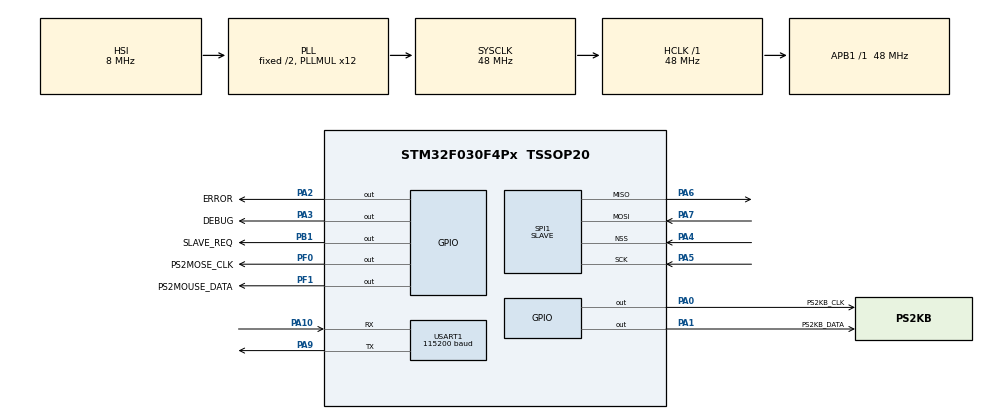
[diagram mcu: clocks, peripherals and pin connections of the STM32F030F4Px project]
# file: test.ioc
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Mcu.Family=STM32F0
Mcu.Name=STM32F030F4Px
Mcu.Package=TSSOP20
NVIC.SPI1_IRQn=true\:0\:0\:false\:false\:true\:true
NVIC.TIM14_IRQn=true\:1\:0\:true\:false\:true\:true
PA0.GPIO_Label=PS2KB_CLK
PA0.GPIO_ModeDefaultOutputPP=GPIO_MODE_OUTPUT_OD
PA0.PinState=GPIO_PIN_SET
PA0.Signal=GPIO_Output
PA1.GPIO_Label=PS2KB_DATA
PA1.GPIO_ModeDefaultOutputPP=GPIO_MODE_OUTPUT_OD
PA1.PinState=GPIO_PIN_SET
PA1.Signal=GPIO_Output
PA10.Mode=Asynchronous
PA10.Signal=USART1_RX
PA13.Mode=Serial_Wire
PA13.Signal=SYS_SWDIO
PA14.Mode=Serial_Wire
PA14.Signal=SYS_SWCLK
PA2.GPIO_Label=ERROR
PA2.Signal=GPIO_Output
PA3.GPIO_Label=DEBUG
PA3.Signal=GPIO_Output
PA4.Mode=NSS_Signal_Hard_Input
PA4.Signal=SPI1_NSS
PA5.Mode=Full_Duplex_Slave
PA5.Signal=SPI1_SCK
PA6.Mode=Full_Duplex_Slave
PA6.Signal=SPI1_MISO
PA7.Mode=Full_Duplex_Slave
PA7.Signal=SPI1_MOSI
PA9.Mode=Asynchronous
PA9.Signal=USART1_TX
PB1.GPIO_Label=SLAVE_REQ
PB1.Signal=GPIO_Output
PF0-OSC_IN.GPIO_Label=PS2MOSE_CLK
PF0-OSC_IN.GPIO_ModeDefaultOutputPP=GPIO_MODE_OUTPUT_OD
PF0-OSC_IN.PinState=GPIO_PIN_SET
PF0-OSC_IN.Signal=GPIO_Output
PF1-OSC_OUT.GPIO_Label=PS2MOUSE_DATA
PF1-OSC_OUT.GPIO_ModeDefaultOutputPP=GPIO_MODE_OUTPUT_OD
PF1-OSC_OUT.PinState=GPIO_PIN_SET
PF1-OSC_OUT.Signal=GPIO_Output
ProjectManager.HeapSize=0x200
ProjectManager.StackSize=0x400
ProjectManager.TargetToolchain=MDK-ARM V5
RCC.AHBFreq_Value=48000000
RCC.APB1Freq_Value=48000000
RCC.APB1TimFreq_Value=48000000
RCC.HCLKFreq_Value=48000000
RCC.PLLMUL=RCC_PLL_MUL12
RCC.SYSCLKFreq_VALUE=48000000
RCC.SYSCLKSource=RCC_SYSCLKSOURCE_PLLCLK
SPI1.DataSize=SPI_DATASIZE_8BIT
SPI1.Direction=SPI_DIRECTION_2LINES
SPI1.Mode=SPI_MODE_SLAVE
SPI1.VirtualNSS=VM_NSSHARD
SPI1.VirtualType=VM_SLAVE
TIM14.Period=65535
TIM14.Prescaler=47
USART1.BaudRate=115200
USART1.VirtualMode-Asynchronous=VM_ASYNC
VP_TIM14_VS_ClockSourceINT.Mode=Enable_Timer
board=test

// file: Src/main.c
/**
  ******************************************************************************
  * @file           : main.c
  * @brief          : Main program body
  ******************************************************************************
  ** This notice applies to any and all portions of this file
  * that are not between comment pairs USER CODE BEGIN and
  * USER CODE END. Other portions of this file, whether
  * inserted by the user or by software development tools
  * are owned by their respective copyright owners.
  *
  * COPYRIGHT(c) 2021 STMicroelectronics
  *
  * Redistribution and use in source and binary forms, with or without modification,
  * are permitted provided that the following conditions are met:
  *   1. Redistributions of source code must retain the above copyright notice,
  *      this list of conditions and the following disclaimer.
  *   2. Redistributions in binary form must reproduce the above copyright notice,
  *      this list of conditions and the following disclaimer in the documentation
  *      and/or other materials provided with the distribution.
  *   3. Neither the name of STMicroelectronics nor the names of its contributors
  *      may be used to endorse or promote products derived from this software
  *      without specific prior written permission.
  *
  * THIS SOFTWARE IS PROVIDED BY THE COPYRIGHT HOLDERS AND CONTRIBUTORS "AS IS"
  * AND ANY EXPRESS OR IMPLIED WARRANTIES, INCLUDING, BUT NOT LIMITED TO, THE
  * IMPLIED WARRANTIES OF MERCHANTABILITY AND FITNESS FOR A PARTICULAR PURPOSE ARE
  * DISCLAIMED. IN NO EVENT SHALL THE COPYRIGHT HOLDER OR CONTRIBUTORS BE LIABLE
  * FOR ANY DIRECT, INDIRECT, INCIDENTAL, SPECIAL, EXEMPLARY, OR CONSEQUENTIAL
  * DAMAGES (INCLUDING, BUT NOT LIMITED TO, PROCUREMENT OF SUBSTITUTE GOODS OR
  * SERVICES; LOSS OF USE, DATA, OR PROFITS; OR BUSINESS INTERRUPTION) HOWEVER
  * CAUSED AND ON ANY THEORY OF LIABILITY, WHETHER IN CONTRACT, STRICT LIABILITY,
  * OR TORT (INCLUDING NEGLIGENCE OR OTHERWISE) ARISING IN ANY WAY OUT OF THE USE
  * OF THIS SOFTWARE, EVEN IF ADVISED OF THE POSSIBILITY OF SUCH DAMAGE.
  *
  ******************************************************************************
  */
#include "main.h"
#include "stm32f0xx_hal.h"

/* USER CODE BEGIN Includes */
#include "shared.h"
#include "helpers.h"
#include "delay_us.h"
#include "ps2kb.h"
#include <string.h>
/* USER CODE END Includes */

SPI_HandleTypeDef hspi1;

TIM_HandleTypeDef htim14;

UART_HandleTypeDef huart1;

/* USER CODE BEGIN PV */
/* Private variables ---------------------------------------------------------*/
uint8_t spi_transmit_buf[SPI_BUF_SIZE];
uint8_t backup_spi1_recv_buf[SPI_BUF_SIZE];

/* USER CODE END PV */

void SystemClock_Config(void);
static void MX_GPIO_Init(void);
static void MX_USART1_UART_Init(void);
static void MX_TIM14_Init(void);
static void MX_SPI1_Init(void);

/* USER CODE BEGIN PFP */
/* Private function prototypes -----------------------------------------------*/

/* USER CODE END PFP */

/* USER CODE BEGIN 0 */
int fputc(int ch, FILE *f)
{
    HAL_UART_Transmit(&huart1, (unsigned char *)&ch, 1, 100);
    return ch;
}

void HAL_SPI_TxRxCpltCallback(SPI_HandleTypeDef *hspi)
{
  HAL_GPIO_WritePin(DEBUG_GPIO_Port, DEBUG_Pin, GPIO_PIN_SET);
  memcpy(backup_spi1_recv_buf, spi_recv_buf, SPI_BUF_SIZE);
  HAL_SPI_TransmitReceive_IT(&hspi1, spi_transmit_buf, spi_recv_buf, SPI_BUF_SIZE);
  HAL_GPIO_WritePin(DEBUG_GPIO_Port, DEBUG_Pin, GPIO_PIN_RESET);

  if(backup_spi1_recv_buf[0] != 0xde)
  {
    printf("WRONG");
    while(1);
  }
}

/* USER CODE END 0 */

int main(void)
{

  /* MCU Configuration----------------------------------------------------------*/

  /* Reset of all peripherals, Initializes the Flash interface and the Systick. */
  HAL_Init();

  /* Configure the system clock */
  SystemClock_Config();

  /* Initialize all configured peripherals */
  MX_GPIO_Init();
  MX_USART1_UART_Init();
  MX_TIM14_Init();
  MX_SPI1_Init();

  /* Infinite loop */
  /* USER CODE BEGIN WHILE */
  delay_us_init(&htim14);
  ps2kb_init(PS2KB_CLK_GPIO_Port, PS2KB_CLK_Pin, PS2KB_DATA_GPIO_Port, PS2KB_DATA_Pin);
  uint8_t ps2kb_host_cmd, ps2kb_leds;
  ps2kb_buf_init(&my_ps2kb_buf, 16);
  memset(spi_transmit_buf, 0, SPI_BUF_SIZE);
  HAL_SPI_TransmitReceive_IT(&hspi1, spi_transmit_buf, spi_recv_buf, SPI_BUF_SIZE);
  printf("hello world\n");

  while (1)
  {

  /* USER CODE END WHILE */

  /* USER CODE BEGIN 3 */
    delay_us(200);
  }
  /* USER CODE END 3 */

}

void SystemClock_Config(void)
{

  RCC_OscInitTypeDef RCC_OscInitStruct;
  RCC_ClkInitTypeDef RCC_ClkInitStruct;
  RCC_PeriphCLKInitTypeDef PeriphClkInit;

    /**Initializes the CPU, AHB and APB busses clocks
    */
  RCC_OscInitStruct.OscillatorType = RCC_OSCILLATORTYPE_HSI;
  RCC_OscInitStruct.HSIState = RCC_HSI_ON;
  RCC_OscInitStruct.HSICalibrationValue = 16;
  RCC_OscInitStruct.PLL.PLLState = RCC_PLL_ON;
  RCC_OscInitStruct.PLL.PLLSource = RCC_PLLSOURCE_HSI;
  RCC_OscInitStruct.PLL.PLLMUL = RCC_PLL_MUL12;
  RCC_OscInitStruct.PLL.PREDIV = RCC_PREDIV_DIV1;
  if (HAL_RCC_OscConfig(&RCC_OscInitStruct) != HAL_OK)
  {
    _Error_Handler(__FILE__, __LINE__);
  }

    /**Initializes the CPU, AHB and APB busses clocks
    */
  RCC_ClkInitStruct.ClockType = RCC_CLOCKTYPE_HCLK|RCC_CLOCKTYPE_SYSCLK
                              |RCC_CLOCKTYPE_PCLK1;
  RCC_ClkInitStruct.SYSCLKSource = RCC_SYSCLKSOURCE_PLLCLK;
  RCC_ClkInitStruct.AHBCLKDivider = RCC_SYSCLK_DIV1;
  RCC_ClkInitStruct.APB1CLKDivider = RCC_HCLK_DIV1;

  if (HAL_RCC_ClockConfig(&RCC_ClkInitStruct, FLASH_LATENCY_1) != HAL_OK)
  {
    _Error_Handler(__FILE__, __LINE__);
  }

  PeriphClkInit.PeriphClockSelection = RCC_PERIPHCLK_USART1;
  PeriphClkInit.Usart1ClockSelection = RCC_USART1CLKSOURCE_PCLK1;
  if (HAL_RCCEx_PeriphCLKConfig(&PeriphClkInit) != HAL_OK)
  {
    _Error_Handler(__FILE__, __LINE__);
  }

    /**Configure the Systick interrupt time
    */
  HAL_SYSTICK_Config(HAL_RCC_GetHCLKFreq()/1000);

    /**Configure the Systick
    */
  HAL_SYSTICK_CLKSourceConfig(SYSTICK_CLKSOURCE_HCLK);

  /* SysTick_IRQn interrupt configuration */
  HAL_NVIC_SetPriority(SysTick_IRQn, 0, 0);
}

/* SPI1 init function */
static void MX_SPI1_Init(void)
{

  /* SPI1 parameter configuration*/
  hspi1.Instance = SPI1;
  hspi1.Init.Mode = SPI_MODE_SLAVE;
  hspi1.Init.Direction = SPI_DIRECTION_2LINES;
  hspi1.Init.DataSize = SPI_DATASIZE_8BIT;
  hspi1.Init.CLKPolarity = SPI_POLARITY_LOW;
  hspi1.Init.CLKPhase = SPI_PHASE_1EDGE;
  hspi1.Init.NSS = SPI_NSS_HARD_INPUT;
  hspi1.Init.FirstBit = SPI_FIRSTBIT_MSB;
  hspi1.Init.TIMode = SPI_TIMODE_DISABLE;
  hspi1.Init.CRCCalculation = SPI_CRCCALCULATION_DISABLE;
  hspi1.Init.CRCPolynomial = 7;
  hspi1.Init.CRCLength = SPI_CRC_LENGTH_DATASIZE;
  hspi1.Init.NSSPMode = SPI_NSS_PULSE_DISABLE;
  if (HAL_SPI_Init(&hspi1) != HAL_OK)
  {
    _Error_Handler(__FILE__, __LINE__);
  }

}

/* TIM14 init function */
static void MX_TIM14_Init(void)
{

  htim14.Instance = TIM14;
  htim14.Init.Prescaler = 47;
  htim14.Init.CounterMode = TIM_COUNTERMODE_UP;
  htim14.Init.Period = 65535;
  htim14.Init.ClockDivision = TIM_CLOCKDIVISION_DIV1;
  htim14.Init.AutoReloadPreload = TIM_AUTORELOAD_PRELOAD_DISABLE;
  if (HAL_TIM_Base_Init(&htim14) != HAL_OK)
  {
    _Error_Handler(__FILE__, __LINE__);
  }

}

/* USART1 init function */
static void MX_USART1_UART_Init(void)
{

  huart1.Instance = USART1;
  huart1.Init.BaudRate = 115200;
  huart1.Init.WordLength = UART_WORDLENGTH_8B;
  huart1.Init.StopBits = UART_STOPBITS_1;
  huart1.Init.Parity = UART_PARITY_NONE;
  huart1.Init.Mode = UART_MODE_TX_RX;
  huart1.Init.HwFlowCtl = UART_HWCONTROL_NONE;
  huart1.Init.OverSampling = UART_OVERSAMPLING_16;
  huart1.Init.OneBitSampling = UART_ONE_BIT_SAMPLE_DISABLE;
  huart1.AdvancedInit.AdvFeatureInit = UART_ADVFEATURE_NO_INIT;
  if (HAL_UART_Init(&huart1) != HAL_OK)
  {
    _Error_Handler(__FILE__, __LINE__);
  }

}

/** Configure pins as
        * Analog
        * Input
        * Output
        * EVENT_OUT
        * EXTI
*/
static void MX_GPIO_Init(void)
{

  GPIO_InitTypeDef GPIO_InitStruct;

  /* GPIO Ports Clock Enable */
  __HAL_RCC_GPIOF_CLK_ENABLE();
  __HAL_RCC_GPIOA_CLK_ENABLE();
  __HAL_RCC_GPIOB_CLK_ENABLE();

  /*Configure GPIO pin Output Level */
  HAL_GPIO_WritePin(GPIOF, PS2MOSE_CLK_Pin|PS2MOUSE_DATA_Pin, GPIO_PIN_SET);

  /*Configure GPIO pin Output Level */
  HAL_GPIO_WritePin(GPIOA, PS2KB_CLK_Pin|PS2KB_DATA_Pin, GPIO_PIN_SET);

  /*Configure GPIO pin Output Level */
  HAL_GPIO_WritePin(GPIOA, ERROR_Pin|DEBUG_Pin, GPIO_PIN_RESET);

  /*Configure GPIO pin Output Level */
  HAL_GPIO_WritePin(SLAVE_REQ_GPIO_Port, SLAVE_REQ_Pin, GPIO_PIN_RESET);

  /*Configure GPIO pins : PS2MOSE_CLK_Pin PS2MOUSE_DATA_Pin */
  GPIO_InitStruct.Pin = PS2MOSE_CLK_Pin|PS2MOUSE_DATA_Pin;
  GPIO_InitStruct.Mode = GPIO_MODE_OUTPUT_OD;
  GPIO_InitStruct.Pull = GPIO_NOPULL;
  GPIO_InitStruct.Speed = GPIO_SPEED_FREQ_LOW;
  HAL_GPIO_Init(GPIOF, &GPIO_InitStruct);

  /*Configure GPIO pins : PS2KB_CLK_Pin PS2KB_DATA_Pin */
  GPIO_InitStruct.Pin = PS2KB_CLK_Pin|PS2KB_DATA_Pin;
  GPIO_InitStruct.Mode = GPIO_MODE_OUTPUT_OD;
  GPIO_InitStruct.Pull = GPIO_NOPULL;
  GPIO_InitStruct.Speed = GPIO_SPEED_FREQ_LOW;
  HAL_GPIO_Init(GPIOA, &GPIO_InitStruct);

  /*Configure GPIO pins : ERROR_Pin DEBUG_Pin */
  GPIO_InitStruct.Pin = ERROR_Pin|DEBUG_Pin;
  GPIO_InitStruct.Mode = GPIO_MODE_OUTPUT_PP;
  GPIO_InitStruct.Pull = GPIO_NOPULL;
  GPIO_InitStruct.Speed = GPIO_SPEED_FREQ_LOW;
  HAL_GPIO_Init(GPIOA, &GPIO_InitStruct);

  /*Configure GPIO pin : SLAVE_REQ_Pin */
  GPIO_InitStruct.Pin = SLAVE_REQ_Pin;
  GPIO_InitStruct.Mode = GPIO_MODE_OUTPUT_PP;
  GPIO_InitStruct.Pull = GPIO_NOPULL;
  GPIO_InitStruct.Speed = GPIO_SPEED_FREQ_LOW;
  HAL_GPIO_Init(SLAVE_REQ_GPIO_Port, &GPIO_InitStruct);

}

void _Error_Handler(char *file, int line)
{
  while(1)
  {
  }
}

/************************ (C) COPYRIGHT STMicroelectronics *****END OF FILE****/
